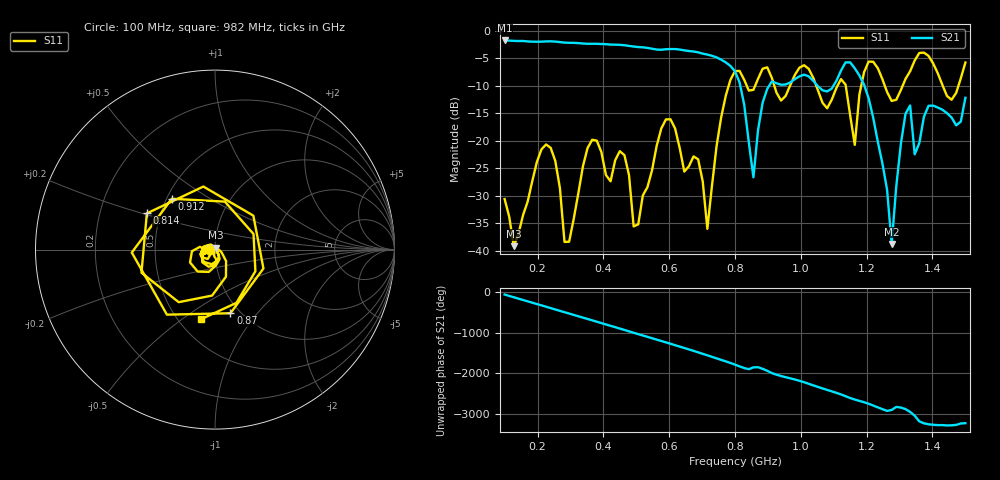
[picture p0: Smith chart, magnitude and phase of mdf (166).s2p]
! NanoVNA-App
! Date: 2025-09-26 09:41:02
! Start: 100MHz Stop: 1,5GHz Points: 101
! S-Parameter data: F S11 S21 S12 S22
# Hz S RI R 50
!  Frequency  S11_Real  S11_Imag  S21_Real  S21_Imag  S12_Real  S12_Imag  S22_Real  S22_Imag
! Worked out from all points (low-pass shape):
!   101 points, 100 MHz to 1.5 GHz, reference 50 ohm
!   highest |S21| = -1.79 dB at 100 MHz (marker M1); lowest = -38.8 dB at 1.276 GHz (marker M2)
!   |S21| within 3 dB of the highest: start of sweep to 740.4 MHz
!   lowest |S11| = -39.2 dB at 128 MHz (marker M3), VSWR 1.02, Z = 50.3 + j1.07 ohm
!   |S11| at or under -10 dB: start of sweep to 780.9 MHz; 1.047 GHz to 1.112 GHz (65.08 MHz wide, 6.03 % of centre); 1.255 GHz to 1.31 GHz (54.57 MHz wide, 4.26 % of centre) (the widest 3 of 7)
!   S12 and S22 are empty: the file has one direction only
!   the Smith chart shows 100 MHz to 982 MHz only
!   S11 on the Smith chart (normalised r, x): 100 MHz: 0.94, -0.01; 814 MHz: 0.42, +0.21; 870 MHz: 0.90, -0.74; 912 MHz: 0.53, +0.35; 982 MHz: 0.64, -0.59
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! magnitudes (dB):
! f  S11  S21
! 100 MHz  -30.6  -1.8
! 128 MHz  -39.2  -1.9
! 212 MHz  -21.6  -2.0
! 282 MHz  -38.4  -2.2
! 338 MHz  -24.7  -2.3
! 464 MHz  -22.6  -2.7
! 506 MHz  -35.2  -3.0
! 576 MHz  -17.8  -3.5
! 688 MHz  -23.4  -3.9
! 716 MHz  -36.0  -4.4
! 800 MHz  -7.3  -7.4
! 814 MHz  -7.3  -9.5
! 856 MHz  -10.8  -26.7
! 870 MHz  -8.8  -18.1
! 912 MHz  -8.6  -9.2
! 982 MHz  -8.0  -8.8
! 1.038 GHz  -8.6  -9.1
! 1.164 GHz  -20.8  -6.9
! 1.192 GHz  -7.6  -9.8
! 1.276 GHz  -12.8  -38.8
! 1.318 GHz  -8.8  -15.1
! 1.5 GHz  -5.8  -12.2
